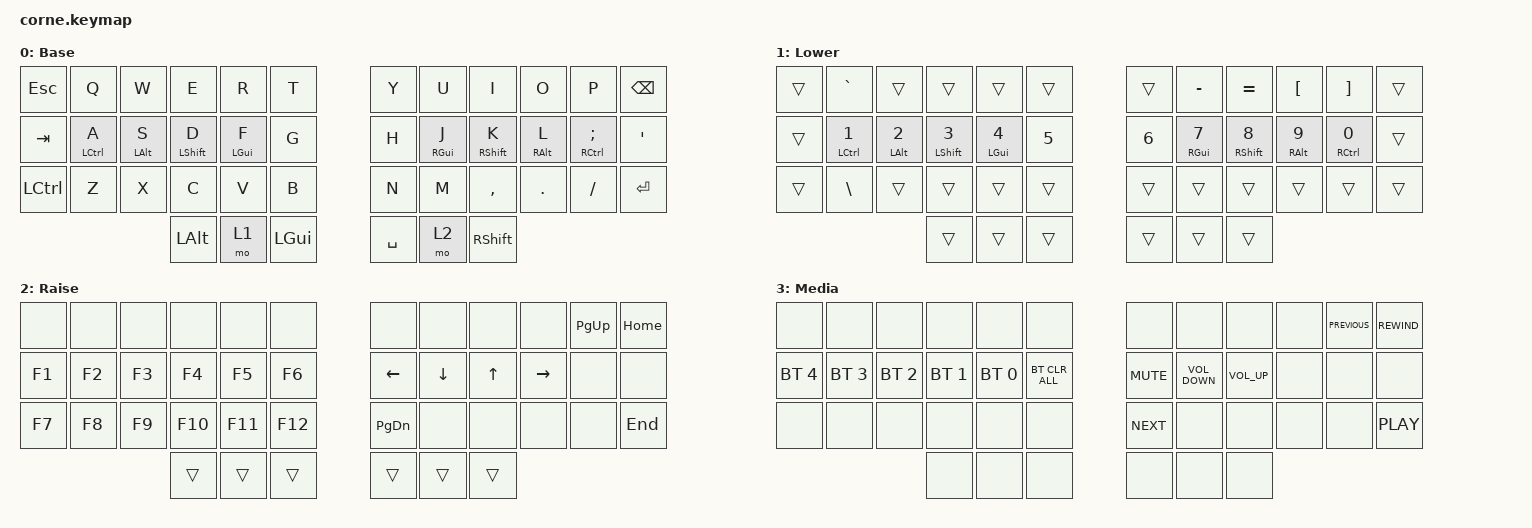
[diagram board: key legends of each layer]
/*
 * Copyright (c) 2020 The ZMK Contributors
 *
 * SPDX-License-Identifier: MIT
 */

#include <behaviors.dtsi>
#include <dt-bindings/zmk/bt.h>
#include <dt-bindings/zmk/keys.h>

/ {
    behaviors {
        lht_tp: lht_tp {
            compatible = "zmk,behavior-hold-tap";
            label = "LHT_TP";
            bindings = <&kp>, <&kp>;

            #binding-cells = <2>;
            flavor = "balanced";
            tapping-term-ms = <280>;
            quick-tap-ms = <175>;
            hold-trigger-key-positions = <19 20 21 22 18 23 6 7 8 9 10 11 20 18 22 23 30 31 32 33 34 35>;
            require-prior-idle-ms = <150>;
            hold-trigger-on-release;
        };

        rht_tp: rht_tp {
            compatible = "zmk,behavior-hold-tap";
            label = "RHT_TP";
            bindings = <&kp>, <&kp>;

            #binding-cells = <2>;
            flavor = "balanced";
            tapping-term-ms = <280>;
            quick-tap-ms = <175>;
            hold-trigger-key-positions = <0 1 2 3 4 5 12 13 14 15 16 17 24 25 26 27 28 29>;
            require-prior-idle-ms = <150>;
            hold-trigger-on-release;
        };
    };

    keymap {
        compatible = "zmk,keymap";

        base_layer {
            // -----------------------------------------------------------------------------------------
            // |  TAB |  Q  |  W  |  E  |  R  |  T  |   |  Y  |  U   |  I  |  O  |  P  | BKSP |
            // | CTRL |  A  |  S  |  D  |  F  |  G  |   |  H  |  J   |  K  |  L  |  ;  |  '   |
            // | SHFT |  Z  |  X  |  C  |  V  |  B  |   |  N  |  M   |  ,  |  .  |  /  | ESC  |
            //                    | GUI | LWR | SPC |   | ENT | RSE  | ALT |

            display-name = "Base";
            bindings = <
&kp ESC    &kp Q            &kp W           &kp E             &kp R           &kp T       &kp Y      &kp U           &kp I            &kp O           &kp P                    &kp BSPC
&kp TAB    &lht_tp LCTRL A  &lht_tp LALT S  &lht_tp LSHIFT D  &lht_tp LGUI F  &kp G       &kp H      &rht_tp RGUI J  &rht_tp RSHFT K  &rht_tp RALT L  &rht_tp RCTRL SEMICOLON  &kp SQT
&kp LCTRL  &kp Z            &kp X           &kp C             &kp V           &kp B       &kp N      &kp M           &kp COMMA        &kp DOT         &kp FSLH                 &kp ENTER
                                            &kp LALT          &mo 1           &kp LGUI    &kp SPACE  &mo 2           &kp RIGHT_SHIFT
            >;
        };

        lower_layer {
            // -----------------------------------------------------------------------------------------
            // |  TAB |  1  |  2  |  3  |  4  |  5  |   |  6  |  7  |  8  |  9  |  0  | BKSP |
            // | BTCLR| BT1 | BT2 | BT3 | BT4 | BT5 |   | LFT | DWN |  UP | RGT |     |      |
            // | SHFT |     |     |     |     |     |   |     |     |     |     |     |      |
            //                    | GUI |     | SPC |   | ENT |     | ALT |

            display-name = "Lower";
            bindings = <
&trans  &kp GRAVE               &trans                 &trans                  &trans                 &trans          &trans        &kp MINUS              &kp EQUAL         &kp LEFT_BRACKET  &kp RIGHT_BRACKET  &trans
&trans  &lht_tp LCTRL NUMBER_1  &lht_tp LALT NUMBER_2  &lht_tp LSHFT NUMBER_3  &lht_tp LGUI NUMBER_4  &kp NUMBER_5    &kp NUMBER_6  &rht_tp RGUI NUMBER_7  &rht_tp RSHFT N8  &rht_tp RALT N9   &rht_tp RCTRL N0   &trans
&trans  &kp BACKSLASH           &trans                 &trans                  &trans                 &trans          &trans        &trans                 &trans            &trans            &trans             &trans
                                                       &trans                  &trans                 &trans          &trans        &trans                 &trans
            >;
        };

        raise_layer {
            // -----------------------------------------------------------------------------------------
            // |  TAB |  !  |  @  |  #  |  $  |  %  |   |  ^  |  &  |  *  |  (  |  )  | BKSP |
            // | CTRL |     |     |     |     |     |   |  -  |  =  |  [  |  ]  |  \  |  `   |
            // | SHFT |     |     |     |     |     |   |  _  |  +  |  {  |  }  | "|" |  ~   |
            //                    | GUI |     | SPC |   | ENT |     | ALT |

            display-name = "Raise";
            bindings = <
&none   &none   &none   &none    &none    &none      &none          &none     &none         &none      &kp PAGE_UP  &kp HOME
&kp F1  &kp F2  &kp F3  &kp F4   &kp F5   &kp F6     &kp LEFT       &kp DOWN  &kp UP_ARROW  &kp RIGHT  &none        &none
&kp F7  &kp F8  &kp F9  &kp F10  &kp F11  &kp F12    &kp PAGE_DOWN  &none     &none         &none      &none        &kp END
                        &trans   &trans   &trans     &trans         &trans    &trans
            >;
        };

        media_layer {
            // -----------------------------------------------------------------------------------------
            // |  TAB |  !  |  @  |  #  |  $  |  %  |   |  ^  |  &  |  *  |  (  |  )  | BKSP |
            // | CTRL |     |     |     |     |     |   |  -  |  =  |  [  |  ]  |  \  |  `   |
            // | SHFT |     |     |     |     |     |   |  _  |  +  |  {  |  }  | "|" |  ~   |
            //                    | GUI |     | SPC |   | ENT |     | ALT |

            display-name = "Media";
            bindings = <
&none         &none         &none         &none         &none         &none             &none       &none              &none            &none  &kp C_PREVIOUS  &kp C_REWIND
&bt BT_SEL 4  &bt BT_SEL 3  &bt BT_SEL 2  &bt BT_SEL 1  &bt BT_SEL 0  &bt BT_CLR_ALL    &kp K_MUTE  &kp C_VOLUME_DOWN  &kp C_VOLUME_UP  &none  &none           &none
&none         &none         &none         &none         &none         &none             &kp C_NEXT  &none              &none            &none  &none           &kp C_PLAY
                                          &none         &none         &none             &none       &none              &none
            >;
        };

        extra_2 { status = "reserved"; };

        extra_3 { status = "reserved"; };
    };

    conditional_layers {
        compatible = "zmk,conditional-layers";

        Media {
            if-layers = <1 2>;
            then-layer = <3>;
        };
    };
};
